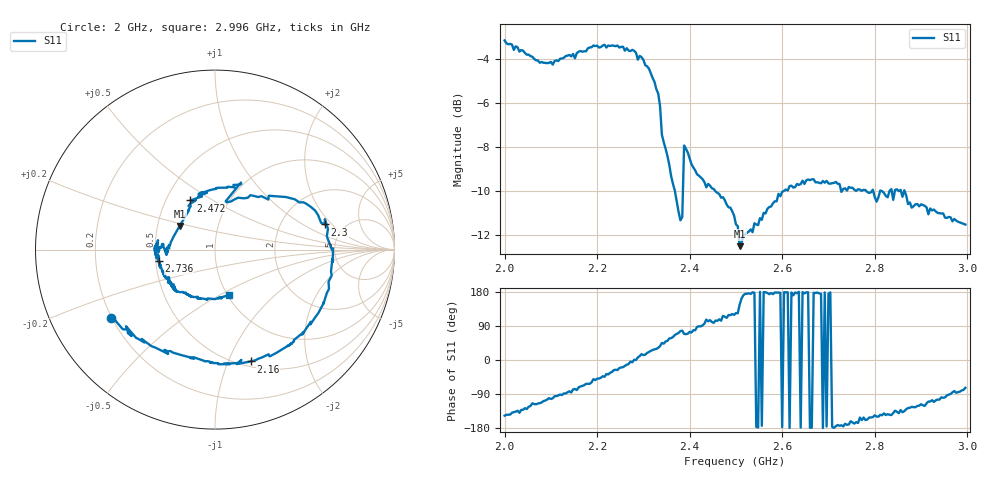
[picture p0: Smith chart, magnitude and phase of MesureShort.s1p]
# MHz S MA R 50.0
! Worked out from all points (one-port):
!   250 points, 2 GHz to 2.996 GHz, reference 50 ohm
!   lowest |S11| = -12.5 dB at 2.508 GHz (marker M1), VSWR 1.62, Z = 32.6 + j9.12 ohm
!   |S11| at or under -10 dB: 2.455 GHz to 2.604 GHz (148.6 MHz wide, 5.87 % of centre); 2.815 GHz to 2.832 GHz (17.44 MHz wide, 0.618 % of centre); 2.865 GHz to end of sweep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
!   S11 on the Smith chart (normalised r, x): 2 GHz: 0.20, -0.29; 2.16 GHz: 0.56, -1.21; 2.3 GHz: 3.55, +1.64; 2.472 GHz: 0.66, +0.40; 2.736 GHz: 0.52, -0.07; 2.996 GHz: 1.01, -0.55
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2000  0.6935 -146.9
2032  0.6544 -139.2
2060  0.6369 -114.2
2128  0.6336 -88.2
2144  0.6381 -85.8
2160  0.654 -72.3
2184  0.6687 -62.8
2192  0.6756 -50.5
2216  0.678 -44.3
2252  0.6707 -19.7
2300  0.6269 12.9
2332  0.5258 32.2
2340  0.4239 45.1
2376  0.2835 71.4
2384  0.2759 77.5
2388  0.4008 68.8
2436  0.3222 106.6
2452  0.3194 98.0
2472  0.3061 116.5
2500  0.2657 123.9
2508  0.237 146.1
2520  0.2519 174.5
2556  0.272 -173.7
2624  0.3218 170.6
2736  0.3206 -168.4
2748  0.3214 -161.6
2872  0.2952 -126.8
2996  0.2653 -73.4
